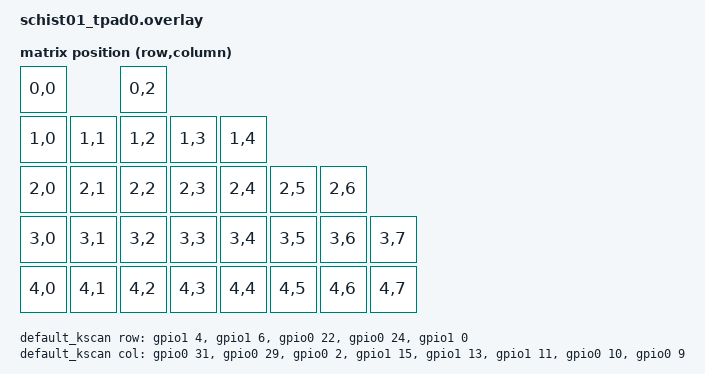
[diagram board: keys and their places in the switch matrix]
/*
 * Copyright (c) 2020 Pete Johanson
 *
 * SPDX-License-Identifier: MIT
 */

#include <dt-bindings/zmk/matrix_transform.h>
#include <dt-bindings/pinctrl/nrf-pinctrl.h>

/ {
	chosen {
        zmk,kscan = &default_kscan;
        zmk,matrix_transform = &default_transform;
    };

    default_kscan: kscan {
        compatible = "zmk,kscan-gpio-matrix";
        label = "default_kscan";
        diode-direction = "row2col";
		wakeup-source;

        row-gpios = <&gpio1 4 GPIO_ACTIVE_HIGH>,
                    <&gpio1 6 GPIO_ACTIVE_HIGH>,
                    <&gpio0 22 GPIO_ACTIVE_HIGH>,
                    <&gpio0 24 GPIO_ACTIVE_HIGH>,
                    <&gpio1 0 GPIO_ACTIVE_HIGH>;

        col-gpios = <&gpio0 31 (GPIO_ACTIVE_HIGH  | GPIO_PULL_DOWN)>,
                    <&gpio0 29 (GPIO_ACTIVE_HIGH | GPIO_PULL_DOWN)>,
                    <&gpio0 2 (GPIO_ACTIVE_HIGH | GPIO_PULL_DOWN)>,
                    <&gpio1 15 (GPIO_ACTIVE_HIGH | GPIO_PULL_DOWN)>,
                    <&gpio1 13 (GPIO_ACTIVE_HIGH | GPIO_PULL_DOWN)>,
                    <&gpio1 11 (GPIO_ACTIVE_HIGH | GPIO_PULL_DOWN)>,
                    <&gpio0 10 (GPIO_ACTIVE_HIGH | GPIO_PULL_DOWN)>,
                    <&gpio0 9 (GPIO_ACTIVE_HIGH | GPIO_PULL_DOWN)>;

    };

    default_transform: matrix_transform {
        compatible = "zmk,matrix-transform";
        rows = <5>;
        columns = <8>;

        map = <
            RC(0,0)         RC(0,2) 
            RC(1,0) RC(1,1) RC(1,2) RC(1,3) RC(1,4)
            RC(2,0) RC(2,1) RC(2,2) RC(2,3) RC(2,4) RC(2,5) RC(2,6)
            RC(3,0) RC(3,1) RC(3,2) RC(3,3) RC(3,4) RC(3,5) RC(3,6) RC(3,7)
            RC(4,0) RC(4,1) RC(4,2) RC(4,3) RC(4,4) RC(4,5) RC(4,6) RC(4,7)
        >;
    };

// 	chosen {
// 		zmk,kscan = &kscan0;
// 		zmk,matrix-transform = &default_transform;
//  		// zephyr,display = &oled;
// 	};

// 	default_transform: keymap_transform_0 {
// 		compatible = "zmk,matrix-transform";
// 		columns = <10>;
// 		rows = <5>;
// 		map = <
// RC(0,0) RC(0,1) RC(0,2) RC(0,3) RC(0,4)  RC(0,5) RC(0,6) RC(0,7) RC(0,8) RC(0,9)
// RC(1,0) RC(1,1) RC(1,2) RC(1,3) RC(1,4)  RC(1,5) RC(1,6) RC(1,7) RC(1,8) RC(1,9)
// RC(2,0) RC(2,1) RC(2,2) RC(2,3) RC(2,4)  RC(2,5) RC(2,6) RC(2,7) RC(2,8) RC(2,9)
//                 RC(3,2) RC(3,3) RC(3,4)  RC(3,5) RC(3,6) RC(3,7)
// RC(4,0) RC(4,1) RC(4,2)
// 		>;
// 		row-offset = <4>;
// 		col-offset = <0>;
// 	};

// 	kscan0: kscan {
// 		compatible = "zmk,kscan-gpio-matrix";
// 		label = "KSCAN";
// 		diode-direction = "col2row";
// 		wakeup-source;
// 		row-gpios
// 			= <&gpio0 29 (GPIO_ACTIVE_HIGH | GPIO_PULL_DOWN)>;
// 		col-gpios
// 			= <&gpio0 2 GPIO_ACTIVE_HIGH>
// 			, <&gpio0 3 GPIO_ACTIVE_HIGH>
// 			, <&gpio0 28 GPIO_ACTIVE_HIGH>
// 			;
// 	};
&pinctrl {
	spi0_default: spi0_default {
		group1 {
			psels = <NRF_PSEL(SPIM_SCK, 0, 20)>,
							<NRF_PSEL(SPIM_MOSI, 0, 6)>,
							<NRF_PSEL(SPIM_MISO, 0, 17)>;
		};
	};
	spi0_sleep: spi0_sleep {
		group1 {
			psels = <NRF_PSEL(SPIM_SCK, 0, 20)>,
							<NRF_PSEL(SPIM_MOSI, 0, 6)>,
							<NRF_PSEL(SPIM_MISO, 0, 17)>;
			low-power-enable;
		};
	};
};

// release gpio1 12 & 13 from xiao_ble-pinctrl.dtsi
// for &trackball { irq-gpios }
&uart0 {
	status = "disabled";
};

&spi0 {
	compatible = "nordic,nrf-spim";
	status = "okay";
	tpad0: glidepoint@0 {
		compatible = "cirque,pinnacle";
		status = "okay";
		label = "TOUCHPAD0";
		reg = <0>;
		spi-max-frequency = <4000000>;
			};
	pinctrl-0 = <&spi0_default>;
		pinctrl-1 = <&spi0_sleep>;
		pinctrl-names = "default", "sleep";
		cs-gpios = <&gpio0 11 GPIO_ACTIVE_LOW>;
};

&tpad0 {
  status = "okay";
	dr-gpios = <&gpio0 8 GPIO_ACTIVE_HIGH>;
	sleep;
	// no-smoothing;
	sensitivity = "2x";
	// no-taps;
	// rotate-90;
};
};
